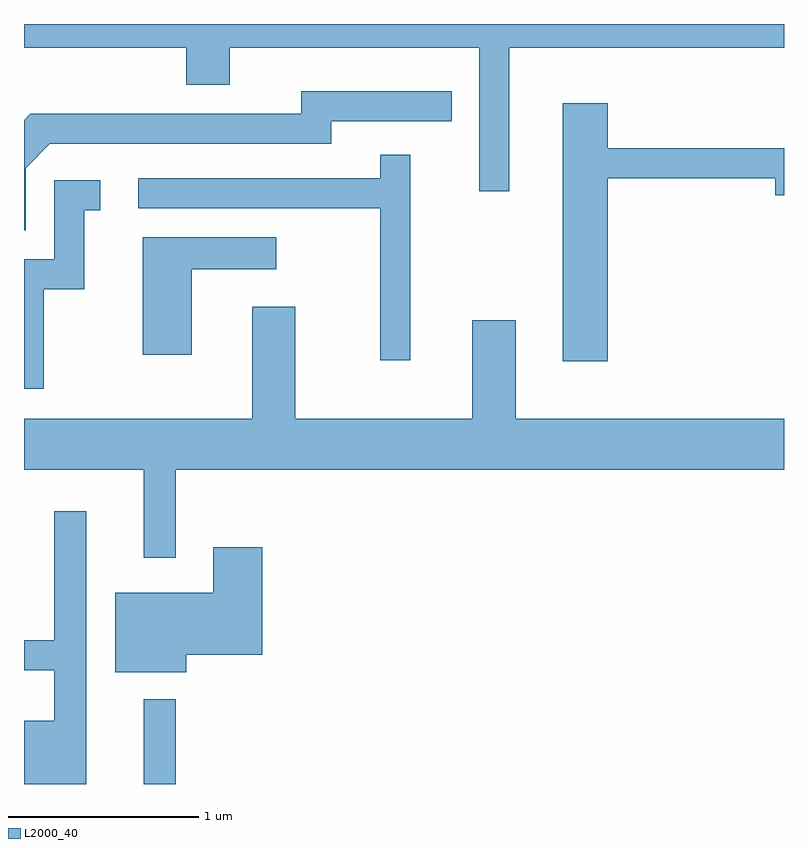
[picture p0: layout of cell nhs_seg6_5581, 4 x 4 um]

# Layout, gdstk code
import gdstk
lib = gdstk.Library(unit=1e-6, precision=1e-09)
def R(c, l, rs):  # rectangles x0, y0, x1, y1
    for r in rs: c.add(gdstk.rectangle(r[:2], r[2:], *l))
def P(c, l, *ps):  # polygons
    for p in ps: c.add(gdstk.Polygon(p, *l))
L2000_40 = (2000, 40)

nhs_seg6_5581 = lib.new_cell('nhs_seg6_5581')
R(nhs_seg6_5581, L2000_40, [(356.241,1546.162,356.409,1546.608)])
P(nhs_seg6_5581, L2000_40, [(358.164,1550.036),(359.611,1550.036),(359.611,1550.162),(355.611,1550.162),(355.611,1550.036),(356.466,1550.036),(356.466,1549.841),(356.694,1549.841),(356.694,1550.036),(358.006,1550.036),(358.006,1549.283),(358.164,1549.283)],
  [(355.619,1549.404),(355.747,1549.531),(357.229,1549.531),(357.229,1549.651),(357.863,1549.651),(357.863,1549.809),(357.071,1549.809),(357.071,1549.689),(355.644,1549.689),(355.611,1549.656),(355.611,1549.076),(355.619,1549.076)],
  [(358.684,1549.351),(359.566,1549.351),(359.566,1549.261),(359.611,1549.261),(359.611,1549.509),(358.684,1549.509),(358.684,1549.744),(358.446,1549.744),(358.446,1548.386),(358.684,1548.386)],
  [(357.644,1549.473),(357.486,1549.473),(357.486,1549.349),(356.213,1549.349),(356.213,1549.191),(357.486,1549.191),(357.486,1548.393),(357.644,1548.393)],
  [(355.714,1548.766),(355.929,1548.766),(355.929,1549.181),(356.013,1549.181),(356.013,1549.339),(355.771,1549.339),(355.771,1548.924),(355.611,1548.924),(355.611,1548.241),(355.714,1548.241)],
  [(356.494,1548.871),(356.938,1548.871),(356.938,1549.039),(356.236,1549.039),(356.236,1548.421),(356.494,1548.421)],
  [(356.409,1547.816),(359.611,1547.816),(359.611,1548.084),(358.199,1548.084),(358.199,1548.604),(357.971,1548.604),(357.971,1548.084),(357.039,1548.084),(357.039,1548.674),(356.811,1548.674),(356.811,1548.084),(355.611,1548.084),(355.611,1547.816),(356.241,1547.816),(356.241,1547.353),(356.409,1547.353)],
  [(355.939,1547.598),(355.771,1547.598),(355.771,1546.919),(355.611,1546.919),(355.611,1546.761),(355.771,1546.761),(355.771,1546.494),(355.611,1546.494),(355.611,1546.162),(355.939,1546.162)],
  [(356.464,1546.841),(356.864,1546.841),(356.864,1547.409),(356.606,1547.409),(356.606,1547.169),(356.091,1547.169),(356.091,1546.751),(356.464,1546.751)])

lib.write_gds('nhs_seg6_5581.gds')
